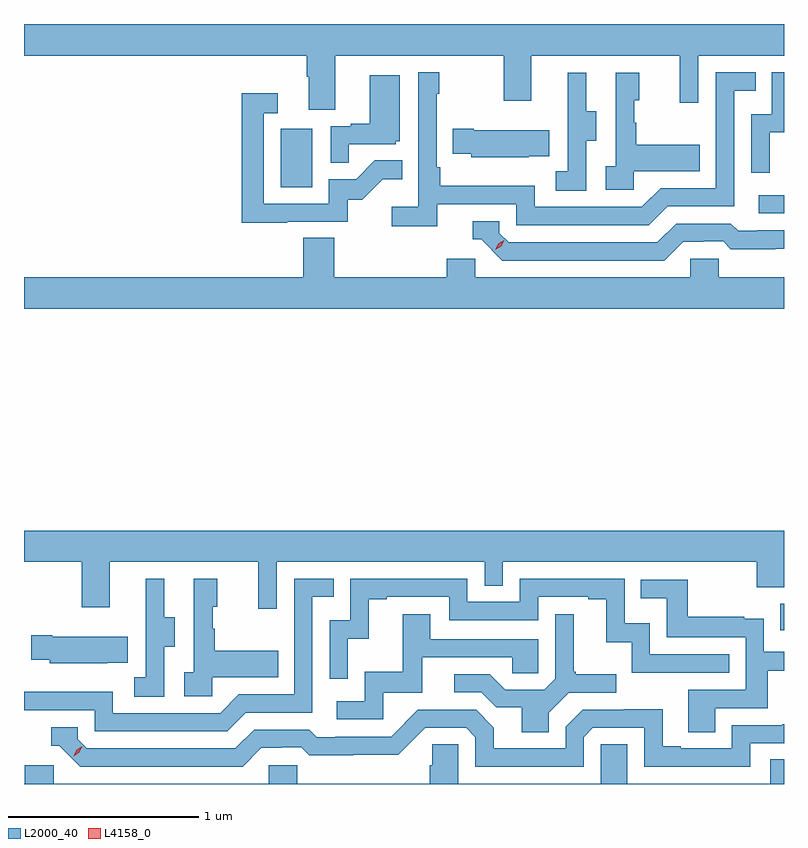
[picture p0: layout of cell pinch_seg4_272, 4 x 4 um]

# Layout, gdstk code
import gdstk
lib = gdstk.Library(unit=1e-6, precision=1e-09)
def R(c, l, rs):  # rectangles x0, y0, x1, y1
    for r in rs: c.add(gdstk.rectangle(r[:2], r[2:], *l))
def P(c, l, *ps):  # polygons
    for p in ps: c.add(gdstk.Polygon(p, *l))
L2000_40 = (2000, 40)
L4158_0 = (4158, 0)

pinch_seg4_272 = lib.new_cell('pinch_seg4_272')
R(pinch_seg4_272, L2000_40, [(942.061,816.44,942.082,816.58), (941.949,818.634,942.082,818.73), (939.434,818.772,939.598,819.079)])
P(pinch_seg4_272, L2000_40, [(939.721,819.464),(940.606,819.464),(940.606,819.225),(940.753,819.225),(940.753,819.464),(941.534,819.464),(941.534,819.216),(941.631,819.216),(941.631,819.464),(942.082,819.464),(942.082,819.628),(938.84,819.628),(938.84,819.63),(938.687,819.63),(938.687,819.628),(938.082,819.628),(938.082,819.464),(939.569,819.464),(939.569,819.352),(939.581,819.352),(939.581,819.178),(939.721,819.178)],
  [(940.256,818.682),(940.674,818.682),(940.674,818.571),(941.371,818.571),(941.47,818.67),(941.82,818.67),(941.82,819.279),(941.933,819.279),(941.933,819.375),(941.724,819.375),(941.724,818.766),(941.433,818.766),(941.334,818.667),(940.77,818.667),(940.77,818.779),(940.274,818.779),(940.274,818.875),(940.254,818.875),(940.254,819.263),(940.267,819.263),(940.267,819.376),(940.158,819.376),(940.158,818.668),(940.017,818.668),(940.017,818.566),(940.256,818.566)],
  [(942.006,819.059),(942.082,819.059),(942.082,819.375),(942.018,819.375),(942.018,819.156),(941.91,819.156),(941.91,818.847),(942.006,818.847)],
  [(941.04,819.016),(941.095,819.016),(941.095,819.171),(941.041,819.171),(941.041,819.373),(940.943,819.373),(940.943,819.159),(940.944,819.159),(940.944,818.855),(940.881,818.855),(940.881,818.752),(941.04,818.752)],
  [(941.292,818.855),(941.639,818.855),(941.639,818.995),(941.305,818.995),(941.305,819.11),(941.295,819.11),(941.295,819.228),(941.32,819.228),(941.32,819.373),(941.196,819.373),(941.196,818.882),(941.145,818.882),(941.145,818.757),(941.292,818.757)],
  [(939.791,818.997),(940.038,818.997),(940.038,819.012),(940.06,819.012),(940.06,819.361),(939.902,819.361),(939.902,819.106),(939.803,819.106),(939.803,819.093),(939.696,819.093),(939.696,818.899),(939.791,818.899)],
  [(939.467,818.589),(939.786,818.589),(939.786,818.706),(939.862,818.706),(939.969,818.813),(940.073,818.813),(940.073,818.912),(939.929,818.912),(939.831,818.814),(939.687,818.814),(939.687,818.685),(939.345,818.685),(939.345,819.159),(939.418,819.159),(939.418,819.265),(939.229,819.265),(939.229,818.584),(939.467,818.584)],
  [(940.739,818.933),(940.847,818.933),(940.847,819.07),(940.45,819.07),(940.45,819.078),(940.339,819.078),(940.339,818.948),(940.437,818.948),(940.437,818.93),(940.739,818.93)],
  [(941.551,818.484),(941.658,818.484),(941.658,818.487),(941.761,818.487),(941.803,818.445),(942.036,818.445),(942.036,818.447),(942.082,818.447),(942.082,818.544),(941.941,818.544),(941.941,818.541),(941.842,818.541),(941.803,818.58),(941.514,818.58),(941.415,818.481),(940.632,818.481),(940.584,818.529),(940.584,818.592),(940.445,818.592),(940.445,818.496),(940.488,818.496),(940.599,818.385),(941.452,818.385)],
  [(942.082,818.296),(941.739,818.296),(941.739,818.394),(941.589,818.394),(941.589,818.296),(940.458,818.296),(940.458,818.394),(940.307,818.394),(940.307,818.296),(939.716,818.296),(939.716,818.504),(939.551,818.504),(939.551,818.296),(938.082,818.296),(938.082,818.132),(942.082,818.132)],
  [(939.411,816.8),(940.506,816.8),(940.506,816.673),(940.602,816.673),(940.602,816.8),(941.938,816.8),(941.938,816.665),(942.082,816.665),(942.082,816.964),(938.082,816.964),(938.082,816.8),(938.386,816.8),(938.386,816.561),(938.533,816.561),(938.533,816.8),(939.314,816.8),(939.314,816.552),(939.411,816.552)],
  [(939.25,816.006),(939.6,816.006),(939.6,816.615),(939.713,816.615),(939.713,816.711),(939.504,816.711),(939.504,816.102),(939.213,816.102),(939.114,816.003),(938.55,816.003),(938.55,816.115),(938.082,816.115),(938.082,816.018),(938.454,816.018),(938.454,815.907),(939.151,815.907)],
  [(939.786,816.395),(939.896,816.395),(939.896,816.603),(939.991,816.603),(939.991,816.615),(940.32,816.615),(940.32,816.492),(940.788,816.492),(940.788,816.615),(941.051,816.615),(941.051,816.603),(941.147,816.603),(941.147,816.377),(941.28,816.377),(941.28,816.216),(941.795,816.216),(941.795,816.312),(941.376,816.312),(941.376,816.475),(941.244,816.475),(941.244,816.711),(940.692,816.711),(940.692,816.588),(940.416,816.588),(940.416,816.711),(939.798,816.711),(939.798,816.492),(939.69,816.492),(939.69,816.183),(939.786,816.183)],
  [(939.072,816.191),(939.419,816.191),(939.419,816.331),(939.085,816.331),(939.085,816.446),(939.075,816.446),(939.075,816.564),(939.1,816.564),(939.1,816.709),(938.976,816.709),(938.976,816.218),(938.925,816.218),(938.925,816.093),(939.072,816.093)],
  [(938.82,816.352),(938.875,816.352),(938.875,816.507),(938.821,816.507),(938.821,816.709),(938.723,816.709),(938.723,816.495),(938.724,816.495),(938.724,816.191),(938.661,816.191),(938.661,816.088),(938.82,816.088)],
  [(941.719,816.03),(941.996,816.03),(941.996,816.226),(942.082,816.226),(942.082,816.327),(941.976,816.327),(941.976,816.499),(941.873,816.499),(941.873,816.511),(941.575,816.511),(941.575,816.705),(941.329,816.705),(941.329,816.608),(941.464,816.608),(941.464,816.402),(941.88,816.402),(941.88,816.126),(941.579,816.126),(941.579,815.902),(941.719,815.902)],
  [(940.843,816.004),(940.95,816.111),(941.2,816.111),(941.2,816.208),(940.987,816.208),(940.987,816.22),(940.975,816.22),(940.975,816.523),(940.878,816.523),(940.878,816.183),(940.821,816.126),(940.615,816.126),(940.534,816.207),(940.347,816.207),(940.347,816.114),(940.488,816.114),(940.568,816.034),(940.703,816.034),(940.703,815.902),(940.843,815.902)],
  [(939.972,816.111),(940.177,816.111),(940.177,816.297),(940.651,816.297),(940.651,816.213),(940.788,816.213),(940.788,816.393),(940.219,816.393),(940.219,816.523),(940.075,816.523),(940.075,816.22),(939.876,816.22),(939.876,816.066),(939.729,816.066),(939.729,815.97),(939.972,815.97)],
  [(938.519,816.269),(938.627,816.269),(938.627,816.406),(938.23,816.406),(938.23,816.414),(938.119,816.414),(938.119,816.284),(938.217,816.284),(938.217,816.266),(938.519,816.266)],
  [(939.331,815.82),(939.438,815.82),(939.438,815.823),(939.541,815.823),(939.583,815.781),(939.816,815.781),(939.816,815.783),(940.052,815.783),(940.194,815.925),(940.41,815.925),(940.458,815.877),(940.458,815.721),(941.028,815.721),(941.028,815.877),(941.076,815.925),(941.346,815.925),(941.346,815.721),(941.904,815.721),(941.904,815.844),(942.082,815.844),(942.082,815.945),(942.073,815.945),(942.073,815.94),(941.808,815.94),(941.808,815.817),(941.539,815.817),(941.539,815.83),(941.443,815.83),(941.443,816.023),(941.238,816.023),(941.238,816.021),(941.022,816.021),(940.932,815.931),(940.932,815.817),(940.555,815.817),(940.555,815.927),(940.461,816.021),(940.155,816.021),(940.014,815.88),(939.721,815.88),(939.721,815.877),(939.622,815.877),(939.583,815.916),(939.294,815.916),(939.195,815.817),(938.412,815.817),(938.364,815.865),(938.364,815.928),(938.225,815.928),(938.225,815.832),(938.268,815.832),(938.379,815.721),(939.232,815.721)],
  [(942.082,815.759),(942.009,815.759),(942.009,815.632),(941.257,815.632),(941.257,815.84),(941.118,815.84),(941.118,815.632),(940.368,815.632),(940.368,815.84),(940.231,815.84),(940.231,815.73),(940.217,815.73),(940.217,815.632),(939.519,815.632),(939.519,815.73),(939.369,815.73),(939.369,815.632),(938.238,815.632),(938.238,815.73),(938.087,815.73),(938.087,815.632),(938.082,815.632),(938.082,815.63),(942.082,815.63)])
P(pinch_seg4_272, L4158_0, [(938.343,815.777),(938.343,815.777),(938.359,815.81),(938.389,815.83),(938.389,815.83),(938.389,815.829),(938.374,815.797),(938.343,815.777)],
  [(940.562,818.442),(940.562,818.442),(940.579,818.474),(940.61,818.493),(940.61,818.493),(940.61,818.493),(940.593,818.461),(940.562,818.442)])

lib.write_gds('pinch_seg4_272.gds')
